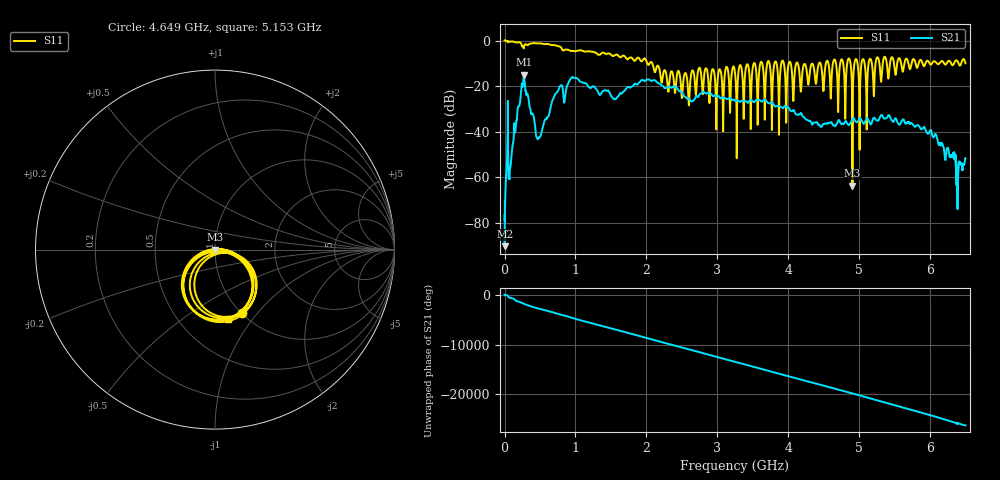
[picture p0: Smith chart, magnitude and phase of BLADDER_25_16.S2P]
!Keysight Technologies,E5063A,MY54503115,A.05.08
!Date: Sun Feb 04 18:44:04 2024
!Data & Calibration Information:
!Freq	S11:NONE(--)	S21:NONE(--)	S12:NONE(--)	S22:NONE(--)
# Hz S dB R 50
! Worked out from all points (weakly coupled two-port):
!   10001 points, 100 kHz to 6.5 GHz, reference 50 ohm
!   highest |S21| = -14.99 dB at 270.5 MHz (marker M1); lowest = -90.2 dB at 1.4 MHz (marker M2)
!   lowest |S11| = -63.7 dB at 4.907 GHz (marker M3), VSWR 1.00, Z = 49.9 + j0.0376 ohm
!   |S11| at or under -10 dB: 2.083 GHz to 3.516 GHz (1.432 GHz wide, 51.2 % of centre); 3.529 GHz to 3.607 GHz (78.15 MHz wide, 2.19 % of centre); 4.135 GHz to 4.435 GHz (299.8 MHz wide, 7 % of centre) (the widest 3 of 29)
!   S12 and S22 are empty: the file has one direction only
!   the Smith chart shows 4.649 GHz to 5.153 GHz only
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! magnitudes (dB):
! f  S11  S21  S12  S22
! 100 kHz  0.0  -84.1  -  -
! 1.4 MHz  0.0  -90.2  -  -
! 41.05 MHz  -0.2  -43.5  -  -
! 270.5 MHz  -3.4  -15.0  -  -
! 475.9 MHz  -1.2  -42.6  -  -
! 777.5 MHz  -2.6  -20.2  -  -
! 1.084 GHz  -4.3  -18.2  -  -
! 1.554 GHz  -6.4  -25.6  -  -
! 2.167 GHz  -11.1  -18.7  -  -
! 3.25 GHz  -14.1  -26.4  -  -
! 4.334 GHz  -10.2  -36.6  -  -
! 4.805 GHz  -34.4  -35.4  -  -
! 4.857 GHz  -7.8  -37.1  -  -
! 4.907 GHz  -63.7  -34.4  -  -
! 4.956 GHz  -8.1  -35.7  -  -
! 5.005 GHz  -29.7  -34.0  -  -
! 5.056 GHz  -8.1  -36.2  -  -
! 5.104 GHz  -26.6  -34.3  -  -
! 5.417 GHz  -16.1  -32.7  -  -
! 6.078 GHz  -9.4  -40.9  -  -
! 6.396 GHz  -9.5  -60.5  -  -
! 6.5 GHz  -10.0  -51.7  -  -
